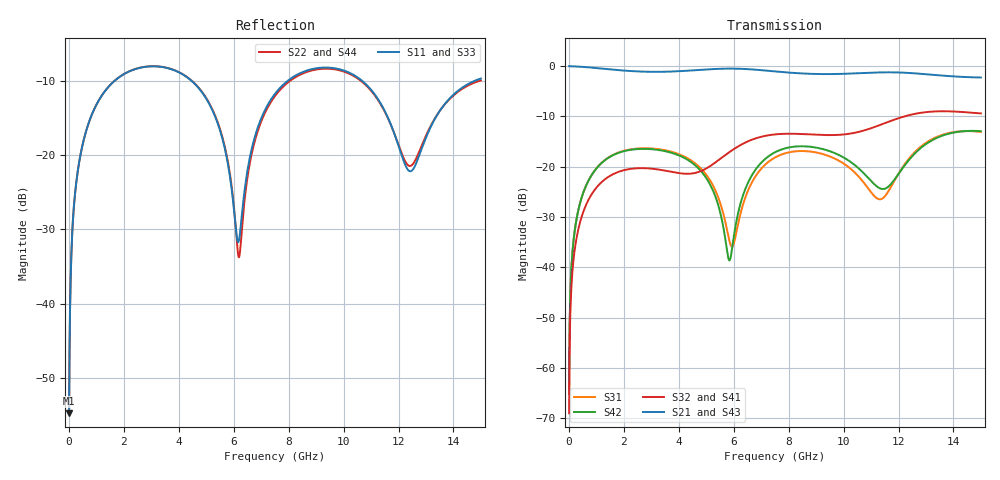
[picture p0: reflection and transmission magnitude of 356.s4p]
! Created with skrf 1.8.0 (http://scikit-rf.org).
# GHz S RI R 50.0
!freq ReS11 ImS11 ReS12 ImS12 ReS13 ImS13
! ReS14 ImS14
! ReS21 ImS21 ReS22 ImS22 ReS23 ImS23
! ReS24 ImS24
! ReS31 ImS31 ReS32 ImS32 ReS33 ImS33
! ReS34 ImS34
! ReS41 ImS41 ReS42 ImS42 ReS43 ImS43
! ReS44 ImS44
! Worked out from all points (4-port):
!   2499 points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, 5 MHz to 15 GHz, reference 50 ohm
!   strongest paths, dB at 5 MHz, 3.476 GHz, 7.19 GHz, 11.1 GHz, 15 GHz:
!     S21: 0.0, -1.1, -0.9, -1.3, -2.3
!     S43: 0.0, -1.1, -0.9, -1.3, -2.3
!     S32: -69.0, -20.7, -13.8, -12.2, -9.4
!     S41: -69.0, -20.8, -13.8, -12.2, -9.5
!     S42: -65.1, -16.9, -18.2, -23.4, -12.9
!     S31: -65.1, -16.7, -19.4, -25.7, -13.1
!   lowest |S11| = -54.8 dB at 5 MHz (marker M1), VSWR 1.00, Z = 50.1 + j0.111 ohm
!   |S11| at or under -10 dB: start of sweep to 1.666 GHz; 4.456 GHz to 7.972 GHz (3.516 GHz wide, 56.6 % of centre); 10.67 GHz to 14.79 GHz (4.116 GHz wide, 32.3 % of centre)
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0.005  0.00145 0.00111  0.9985 -0.00283  7.16e-05 0.000551  -6.97e-05 -0.000349
       0.9985 -0.00283  0.00145 0.00111  -6.97e-05 -0.000349  7.16e-05 0.000551
       7.16e-05 0.000551  -6.97e-05 -0.000349  0.00145 0.00111  0.9985 -0.00283
       -6.97e-05 -0.000349  7.16e-05 0.000551  0.9985 -0.00283  0.00145 0.00111
0.3126303  0.0196 0.0737  0.9733 -0.1769  0.00857 0.0331  -0.00711 -0.0209
           0.9733 -0.1769  0.0196 0.0737  -0.00712 -0.0209  0.00839 0.0332
           0.00857 0.0331  -0.00712 -0.0209  0.0196 0.0737  0.9733 -0.1769
           -0.00711 -0.0209  0.00839 0.0332  0.9733 -0.1769  0.0196 0.0737
1.569404  0.2377 0.1905  0.6175 -0.6875  0.1123 0.065  -0.0816 -0.0169
          0.6175 -0.6875  0.2384 0.1901  -0.0818 -0.0167  0.1096 0.068
          0.1123 0.065  -0.0818 -0.0167  0.2376 0.1905  0.6175 -0.6875
          -0.0816 -0.0169  0.1096 0.068  0.6175 -0.6875  0.2385 0.19
6.002501  0.0285 -0.0334  -0.9318 -0.1508  -0.0149 0.00874  -0.0217 0.1482
          -0.9318 -0.1508  0.0236 -0.039  -0.0181 0.1487  0.0141 0.0145
          -0.0149 0.00874  -0.0181 0.1487  0.0298 -0.0338  -0.9318 -0.1508
          -0.0217 0.1482  0.0141 0.0145  -0.9318 -0.1508  0.0226 -0.0397
9.572739  0.3844 -0.0326  0.0113 0.8335  0.0979 -0.0766  0.1992 -0.0473
          0.0113 0.8335  0.3783 -0.0241  0.1989 -0.0553  0.0997 -0.0988
          0.0979 -0.0766  0.1989 -0.0553  0.3829 -0.0318  0.0117 0.8337
          0.1992 -0.0473  0.0997 -0.0988  0.0117 0.8337  0.3785 -0.0254
12.27386  0.0771 -0.0322  0.8413 0.1705  -0.0194 0.1088  0.0669 -0.3131
          0.8413 0.1705  0.0838 -0.029  0.0533 -0.3153  -0.028 0.1038
          -0.0194 0.1088  0.0533 -0.3153  0.0786 -0.0323  0.8416 0.1692
          0.0669 -0.3131  -0.028 0.1038  0.8416 0.1692  0.0815 -0.0264
15  0.323 0.0516  0.3421 -0.6906  0.2193 -0.0324  -0.3255 -0.0761
    0.3421 -0.6906  0.314 0.0462  -0.3335 -0.0597  0.2207 -0.0483
    0.2193 -0.0324  -0.3335 -0.0597  0.3189 0.0541  0.3405 -0.6907
    -0.3255 -0.0761  0.2207 -0.0483  0.3405 -0.6907  0.3209 0.0434
